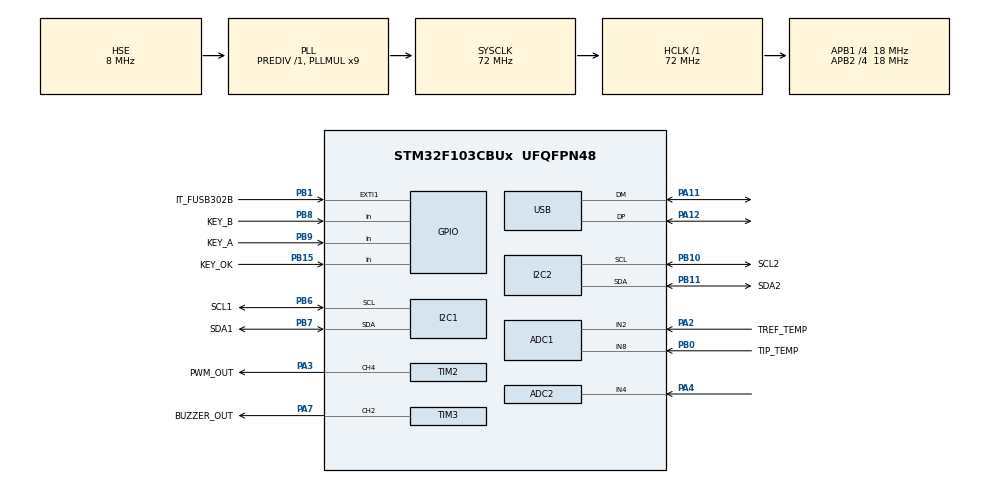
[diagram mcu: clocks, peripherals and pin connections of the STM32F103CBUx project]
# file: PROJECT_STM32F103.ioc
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ADC1.Channel-10\#ChannelInjectedConversion=ADC_CHANNEL_8
ADC1.Channel-11\#ChannelInjectedConversion=ADC_CHANNEL_8
ADC1.Channel-14\#ChannelInjectedConversion=ADC_CHANNEL_8
ADC1.Channel-15\#ChannelInjectedConversion=ADC_CHANNEL_8
ADC1.Channel-2\#ChannelRegularConversion=ADC_CHANNEL_2
ADC1.ContinuousConvMode=ENABLE
ADC1.EnableInjectedConversion=ENABLE
ADC1.ExternalTrigInjecConv=ADC_EXTERNALTRIGINJECCONV_T1_CC4
ADC1.InjNumberOfConversion=4
ADC1.InjectedOffset-10\#ChannelInjectedConversion=0
ADC1.InjectedOffset-11\#ChannelInjectedConversion=0
ADC1.InjectedOffset-14\#ChannelInjectedConversion=0
ADC1.InjectedOffset-15\#ChannelInjectedConversion=0
ADC1.Mode=ADC_DUALMODE_REGSIMULT_INJECSIMULT
ADC1.NbrOfConversion=1
ADC1.NbrOfConversionFlag=1
ADC1.Rank-10\#ChannelInjectedConversion=1
ADC1.Rank-11\#ChannelInjectedConversion=2
ADC1.Rank-14\#ChannelInjectedConversion=3
ADC1.Rank-15\#ChannelInjectedConversion=4
ADC1.Rank-2\#ChannelRegularConversion=1
ADC1.SamplingTime-10\#ChannelInjectedConversion=ADC_SAMPLETIME_1CYCLE_5
ADC1.SamplingTime-11\#ChannelInjectedConversion=ADC_SAMPLETIME_1CYCLE_5
ADC1.SamplingTime-14\#ChannelInjectedConversion=ADC_SAMPLETIME_1CYCLE_5
ADC1.SamplingTime-15\#ChannelInjectedConversion=ADC_SAMPLETIME_1CYCLE_5
ADC1.SamplingTime-2\#ChannelRegularConversion=ADC_SAMPLETIME_71CYCLES_5
ADC1.master=1
ADC2.Channel-0\#ChannelRegularConversion=ADC_CHANNEL_2
ADC2.Channel-10\#ChannelInjectedConversion=ADC_CHANNEL_8
ADC2.Channel-2\#ChannelInjectedConversion=ADC_CHANNEL_8
ADC2.Channel-8\#ChannelInjectedConversion=ADC_CHANNEL_8
ADC2.Channel-9\#ChannelInjectedConversion=ADC_CHANNEL_8
ADC2.ContinuousConvMode=ENABLE
ADC2.EnableInjectedConversion=ENABLE
ADC2.InjNumberOfConversion=4
ADC2.InjectedConvMode=None
ADC2.InjectedOffset-10\#ChannelInjectedConversion=0
ADC2.InjectedOffset-2\#ChannelInjectedConversion=0
ADC2.InjectedOffset-8\#ChannelInjectedConversion=0
ADC2.InjectedOffset-9\#ChannelInjectedConversion=0
ADC2.Mode=ADC_DUALMODE_REGSIMULT_INJECSIMULT
ADC2.NbrOfConversion=1
ADC2.NbrOfConversionFlag=1
ADC2.Rank-0\#ChannelRegularConversion=1
ADC2.Rank-10\#ChannelInjectedConversion=4
ADC2.Rank-2\#ChannelInjectedConversion=1
ADC2.Rank-8\#ChannelInjectedConversion=2
ADC2.Rank-9\#ChannelInjectedConversion=3
ADC2.SamplingTime-0\#ChannelRegularConversion=ADC_SAMPLETIME_71CYCLES_5
ADC2.SamplingTime-10\#ChannelInjectedConversion=ADC_SAMPLETIME_1CYCLE_5
ADC2.SamplingTime-2\#ChannelInjectedConversion=ADC_SAMPLETIME_1CYCLE_5
ADC2.SamplingTime-8\#ChannelInjectedConversion=ADC_SAMPLETIME_1CYCLE_5
ADC2.SamplingTime-9\#ChannelInjectedConversion=ADC_SAMPLETIME_1CYCLE_5
Dma.ADC1.2.Direction=DMA_PERIPH_TO_MEMORY
Dma.ADC1.2.Instance=DMA1_Channel1
Dma.ADC1.2.MemDataAlignment=DMA_MDATAALIGN_WORD
Dma.ADC1.2.MemInc=DMA_MINC_ENABLE
Dma.ADC1.2.Mode=DMA_CIRCULAR
Dma.ADC1.2.PeriphDataAlignment=DMA_PDATAALIGN_WORD
Dma.ADC1.2.PeriphInc=DMA_PINC_DISABLE
Dma.ADC1.2.Priority=DMA_PRIORITY_VERY_HIGH
Dma.I2C1_RX.0.Direction=DMA_PERIPH_TO_MEMORY
Dma.I2C1_RX.0.Instance=DMA1_Channel7
Dma.I2C1_RX.0.MemDataAlignment=DMA_MDATAALIGN_BYTE
Dma.I2C1_RX.0.MemInc=DMA_MINC_ENABLE
Dma.I2C1_RX.0.Mode=DMA_NORMAL
Dma.I2C1_RX.0.PeriphDataAlignment=DMA_PDATAALIGN_BYTE
Dma.I2C1_RX.0.PeriphInc=DMA_PINC_DISABLE
Dma.I2C1_RX.0.Priority=DMA_PRIORITY_LOW
Dma.I2C1_TX.1.Direction=DMA_MEMORY_TO_PERIPH
Dma.I2C1_TX.1.Instance=DMA1_Channel6
Dma.I2C1_TX.1.MemDataAlignment=DMA_MDATAALIGN_BYTE
Dma.I2C1_TX.1.MemInc=DMA_MINC_ENABLE
Dma.I2C1_TX.1.Mode=DMA_NORMAL
Dma.I2C1_TX.1.PeriphDataAlignment=DMA_PDATAALIGN_BYTE
Dma.I2C1_TX.1.PeriphInc=DMA_PINC_DISABLE
Dma.I2C1_TX.1.Priority=DMA_PRIORITY_MEDIUM
Dma.Request0=I2C1_RX
Dma.Request1=I2C1_TX
Dma.Request2=ADC1
FREERTOS.INCLUDE_uxTaskGetStackHighWaterMark=1
FREERTOS.INCLUDE_uxTaskPriorityGet=0
FREERTOS.INCLUDE_vTaskDelete=0
FREERTOS.INCLUDE_vTaskSuspend=0
FREERTOS.MEMORY_ALLOCATION=1
FREERTOS.Tasks01=PIDTask,3,64,StartPIDTask,Default,NULL,Static,PIDTaskBuffer,PIDTaskControlBlock;MOVTask,0,176,StartMOVTask,Default,NULL,Static,MOVTaskBuffer,MOVTaskControlBlock;POWTask,1,384,StartPOWTask,Default,NULL,Static,POWTaskBuffer,POWTaskControlBlock;GUITask,2,256,StartGUITask,Default,NULL,Static,GUITaskBuffer,GUITaskControlBlock
FREERTOS.configCHECK_FOR_STACK_OVERFLOW=2
FREERTOS.configMAX_PRIORITIES=7
FREERTOS.configMAX_TASK_NAME_LEN=32
FREERTOS.configMINIMAL_STACK_SIZE=64
FREERTOS.configTOTAL_HEAP_SIZE=4096
I2C1.I2C_Mode=I2C_Fast
I2C2.I2C_Mode=I2C_Fast
IWDG.Prescaler=IWDG_PRESCALER_256
IWDG.Reload=100
Mcu.Family=STM32F1
Mcu.Name=STM32F103CBUx
Mcu.Package=UFQFPN48
Mcu.UserConstants=TREF_TEMP_ADC1_CHANNEL,ADC_CHANNEL_2;TREF_TEMP_ADC2_CHANNEL,ADC_CHANNEL_2;TEMP_TEMP_ADC1_CHANNEL,ADC_CHANNEL_7;TEMP_TEMP_ADC2_CHANNEL,ADC_CHANNEL_7;TIM1_PSC_FAST_PWM,40267;TIM1_PSC_SLOW_PWM,63379;BUZZER_CHANNEL,TIM_CHANNEL_2
NVIC.ADC1_2_IRQn=true\:15\:0\:true\:false\:true\:false\:true\:true
NVIC.DMA1_Channel1_IRQn=true\:5\:0\:true\:false\:true\:false\:false\:true
NVIC.DMA1_Channel6_IRQn=true\:5\:0\:true\:false\:true\:false\:false\:true
NVIC.DMA1_Channel7_IRQn=true\:5\:0\:true\:false\:true\:false\:false\:true
NVIC.EXTI1_IRQn=true\:10\:0\:true\:false\:true\:false\:true\:true
NVIC.I2C1_ER_IRQn=true\:15\:0\:true\:false\:true\:false\:true\:true
NVIC.I2C1_EV_IRQn=true\:15\:0\:true\:false\:true\:false\:true\:true
NVIC.I2C2_ER_IRQn=true\:15\:0\:true\:false\:true\:false\:true\:true
NVIC.I2C2_EV_IRQn=true\:15\:0\:true\:false\:true\:false\:true\:true
NVIC.PriorityGroup=NVIC_PRIORITYGROUP_4
NVIC.TIM1_CC_IRQn=true\:15\:0\:true\:false\:true\:false\:true\:true
NVIC.TIM1_UP_IRQn=true\:15\:0\:true\:false\:true\:false\:true\:true
NVIC.TIM3_IRQn=true\:15\:0\:true\:false\:true\:false\:true\:true
NVIC.TIM4_IRQn=true\:0\:0\:false\:false\:true\:false\:false\:true
NVIC.TimeBase=TIM4_IRQn
NVIC.TimeBaseIP=TIM4
PA11.Mode=Device
PA11.Signal=USB_DM
PA12.Mode=Device
PA12.Signal=USB_DP
PA13.Mode=Trace_Asynchronous_SW
PA13.Signal=SYS_JTMS-SWDIO
PA14.Mode=Trace_Asynchronous_SW
PA14.Signal=SYS_JTCK-SWCLK
PA2.GPIO_Label=TREF_TEMP
PA2.Signal=ADCx_IN2
PA3.GPIO_Label=PWM_OUT
PA3.GPIO_Speed=GPIO_SPEED_FREQ_HIGH
PA3.Signal=S_TIM2_CH4
PA4.Signal=ADCx_IN4
PA7.GPIO_Label=BUZZER_OUT
PA7.GPIO_ModeDefaultPP=GPIO_MODE_AF_PP
PA7.GPIO_Speed=GPIO_SPEED_FREQ_HIGH
PA7.Signal=S_TIM3_CH2
PB0.GPIO_Label=TIP_TEMP
PB0.Signal=ADCx_IN8
PB1.GPIO_Label=IT_FUSB302B
PB1.GPIO_ModeDefaultEXTI=GPIO_MODE_IT_FALLING
PB1.GPIO_PuPd=GPIO_PULLUP
PB1.Signal=GPXTI1
PB10.GPIO_Label=SCL2
PB10.Mode=I2C
PB10.Signal=I2C2_SCL
PB11.GPIO_Label=SDA2
PB11.Mode=I2C
PB11.Signal=I2C2_SDA
PB15.GPIO_Label=KEY_OK
PB15.GPIO_PuPd=GPIO_PULLUP
PB15.Signal=GPIO_Input
PB3.Mode=Trace_Asynchronous_SW
PB3.Signal=SYS_JTDO-TRACESWO
PB6.GPIO_Label=SCL1
PB6.Mode=I2C
PB6.Signal=I2C1_SCL
PB7.GPIO_Label=SDA1
PB7.Mode=I2C
PB7.Signal=I2C1_SDA
PB8.GPIO_Label=KEY_B
PB8.GPIO_PuPd=GPIO_NOPULL
PB8.Signal=GPIO_Input
PB9.GPIO_Label=KEY_A
PB9.GPIO_PuPd=GPIO_PULLUP
PB9.Signal=GPIO_Input
PD0-OSC_IN.Mode=HSE-External-Oscillator
PD0-OSC_IN.Signal=RCC_OSC_IN
PD1-OSC_OUT.Mode=HSE-External-Oscillator
PD1-OSC_OUT.Signal=RCC_OSC_OUT
ProjectManager.HeapSize=0x400
ProjectManager.StackSize=0x400
ProjectManager.TargetToolchain=STM32CubeIDE
RCC.AHBFreq_Value=72000000
RCC.APB1CLKDivider=RCC_HCLK_DIV4
RCC.APB1Freq_Value=18000000
RCC.APB1TimFreq_Value=36000000
RCC.APB2CLKDivider=RCC_HCLK_DIV4
RCC.APB2Freq_Value=18000000
RCC.APB2TimFreq_Value=36000000
RCC.HCLKFreq_Value=72000000
RCC.PLLMUL=RCC_PLL_MUL9
RCC.PLLSourceVirtual=RCC_PLLSOURCE_HSE
RCC.SYSCLKFreq_VALUE=72000000
RCC.SYSCLKSource=RCC_SYSCLKSOURCE_PLLCLK
RCC.USBFreq_Value=48000000
RCC.USBPrescaler=RCC_USBCLKSOURCE_PLL_DIV1_5
SH.ADCx_IN2.0=ADC1_IN2,IN2
SH.ADCx_IN2.1=ADC2_IN2,IN2
SH.ADCx_IN4.0=ADC2_IN4,IN4
SH.ADCx_IN8.0=ADC1_IN8,IN8
SH.ADCx_IN8.1=ADC2_IN8,IN8
SH.S_TIM2_CH4.0=TIM2_CH4,PWM Generation4 CH4
SH.S_TIM3_CH2.0=TIM3_CH2,PWM Generation2 CH2
TIM1.Channel-PWM\ Generation1\ No\ Output=TIM_CHANNEL_1
TIM1.Channel-PWM\ Generation4\ No\ Output=TIM_CHANNEL_4
TIM1.ClockDivision=TIM_CLOCKDIVISION_DIV4
TIM1.OCFastMode_PWM-PWM\ Generation1\ No\ Output=TIM_OCFAST_ENABLE
TIM1.OCFastMode_PWM-PWM\ Generation4\ No\ Output=TIM_OCFAST_ENABLE
TIM1.OCPolarity_1=TIM_OCPOLARITY_LOW
TIM1.Period=255 + 14 * 2
TIM1.Prescaler=TIM1_PSC_SLOW_PWM
TIM1.Pulse-PWM\ Generation1\ No\ Output=0
TIM1.Pulse-PWM\ Generation4\ No\ Output=255 + 14
TIM2.AutoReloadPreload=TIM_AUTORELOAD_PRELOAD_ENABLE
TIM2.Channel-PWM\ Generation4\ CH4=TIM_CHANNEL_4
TIM2.ClockDivision=TIM_CLOCKDIVISION_DIV1
TIM2.Period=99
TIM2.Prescaler=35
TIM2.Pulse-PWM\ Generation4\ CH4=50
TIM3.AutoReloadPreload=TIM_AUTORELOAD_PRELOAD_DISABLE
TIM3.Channel-PWM\ Generation2\ CH2=TIM_CHANNEL_2
TIM3.OCPolarity_2=TIM_OCPOLARITY_LOW
TIM3.Period=255
TIM3.Prescaler=35
VP_FREERTOS_VS_CMSIS_V1.Mode=CMSIS_V1
VP_IWDG_VS_IWDG.Mode=IWDG_Activate
VP_SYS_VS_tim4.Mode=TIM4
VP_TIM1_VS_no_output1.Mode=PWM Generation1 No Output
VP_TIM1_VS_no_output4.Mode=PWM Generation4 No Output
board=custom

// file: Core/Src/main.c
/* USER CODE BEGIN Header */
/**
  ******************************************************************************
  * @file           : main.c
  * @brief          : Main program body
  ******************************************************************************
  * @attention
  *
  * <h2><center>&copy; Copyright (c) 2021 STMicroelectronics.
  * All rights reserved.</center></h2>
  *
  * This software component is licensed by ST under BSD 3-Clause license,
  * the "License"; You may not use this file except in compliance with the
  * License. You may obtain a copy of the License at:
  *                        opensource.org/licenses/BSD-3-Clause
  *
  ******************************************************************************
  */
/* USER CODE END Header */
#include "main.h"
#include "cmsis_os.h"

/* USER CODE BEGIN Includes */

//#include "sys.h"
//#include "delay.h"
//#include "led.h"
//#include "usart.h"
#ifndef STM32F1
#include "usbd_cdc_if.h"
#endif
#include "BSP.h"
#include "LIS3DH.hpp"
#include "Settings.h"
#include "power.hpp"
#include "Setup.h"
#include "Translation.h"
#include "Threads.hpp"
/* USER CODE END Includes */

ADC_HandleTypeDef hadc1;
ADC_HandleTypeDef hadc2;
DMA_HandleTypeDef hdma_adc1;

I2C_HandleTypeDef hi2c1;
I2C_HandleTypeDef hi2c2;
DMA_HandleTypeDef hdma_i2c1_rx;
DMA_HandleTypeDef hdma_i2c1_tx;

IWDG_HandleTypeDef hiwdg;

TIM_HandleTypeDef htim1;
TIM_HandleTypeDef htim2;
TIM_HandleTypeDef htim3;

PCD_HandleTypeDef hpcd_USB_FS;

osThreadId PIDTaskHandle;
uint32_t PIDTaskBuffer[ 64 ];
osStaticThreadDef_t PIDTaskControlBlock;
osThreadId MOVTaskHandle;
uint32_t MOVTaskBuffer[ 176 ];
osStaticThreadDef_t MOVTaskControlBlock;
osThreadId POWTaskHandle;
uint32_t POWTaskBuffer[ 384 ];
osStaticThreadDef_t POWTaskControlBlock;
osThreadId GUITaskHandle;
uint32_t GUITaskBuffer[ 256 ];
osStaticThreadDef_t GUITaskControlBlock;
/* USER CODE BEGIN PV */
bool    settingsWereReset            = false;
uint16_t GUITask_stacksize = 0;
uint16_t PIDTask_stacksize = 0;
uint16_t MOVTask_stacksize = 0;
uint16_t POWTask_stacksize = 0;
/* USER CODE END PV */

void SystemClock_Config(void);
static void MX_GPIO_Init(void);
static void MX_DMA_Init(void);
static void MX_ADC1_Init(void);
static void MX_TIM2_Init(void);
static void MX_I2C1_Init(void);
static void MX_ADC2_Init(void);
static void MX_I2C2_Init(void);
static void MX_TIM1_Init(void);
static void MX_TIM3_Init(void);
static void MX_IWDG_Init(void);
static void MX_USB_PCD_Init(void);
void StartPIDTask(void const * argument);
void StartMOVTask(void const * argument);
void StartPOWTask(void const * argument);
void StartGUITask(void const * argument);

int main(void)
{
  /* USER CODE BEGIN 1 */
	//SCB->VTOR = FLASH_BASE | 0x9000;
  /* USER CODE END 1 */

  /* MCU Configuration--------------------------------------------------------*/

  /* Reset of all peripherals, Initializes the Flash interface and the Systick. */
  HAL_Init();

  /* Configure the system clock */
  SystemClock_Config();

  /* USER CODE BEGIN SysInit */
  //USB_Status_Init();		//若不行就加长HAL_Delay
  /* USER CODE END SysInit */

  /* Initialize all configured peripherals */
  MX_GPIO_Init();
  MX_DMA_Init();
  MX_ADC1_Init();
  MX_TIM2_Init();
  MX_I2C1_Init();
  MX_ADC2_Init();
  MX_I2C2_Init();
  MX_TIM1_Init();
  MX_TIM3_Init();
  MX_IWDG_Init();
  MX_USB_PCD_Init();
  /* USER CODE BEGIN 2 */
  //MX_USB_DEVICE_Init()内有延迟，ADC在此期间自校准，启动校准前，ADC必须处于关电状超过至少两个ADC时钟周期
  //HAL_ADCEx_Calibration_Start(&hadc1);
  //HAL_ADCEx_Calibration_Start(&hadc2);
  //MX_USB_DEVICE_Init();	// 手动加在这，StartUSBTask里自动加的不正常，将它注释掉
  resetWatchdog();

  preRToSInit();		// 初始化i2c实例
  /*ADC规则通道DMA*/
  HAL_ADC_Start(&hadc1);
  HAL_ADC_Start(&hadc2);		//ADC slave can be enabled preliminarily using single-mode  HAL_ADC_Start() function.
  HAL_ADCEx_MultiModeStart_DMA(&hadc1, ADCReadings, (ADC_SAMPLES * ADC_CHANNELS));	//ADC handle of ADC master (handle of ADC slave must not be used)
  HAL_ADCEx_InjectedStart(&hadc1);       // enable injected readings
  HAL_ADCEx_InjectedStart(&hadc2);		// enable injected readings
  HAL_ADCEx_InjectedStart_IT(&hadc1);
  HAL_ADCEx_InjectedStart_IT(&hadc2);

  resetWatchdog();

  /* USER CODE END 2 */

  /* Create the thread(s) */
  /* definition and creation of PIDTask */
  osThreadStaticDef(PIDTask, StartPIDTask, osPriorityRealtime, 0, 64, PIDTaskBuffer, &PIDTaskControlBlock);
  PIDTaskHandle = osThreadCreate(osThread(PIDTask), NULL);

  /* definition and creation of MOVTask */
  osThreadStaticDef(MOVTask, StartMOVTask, osPriorityNormal, 0, 176, MOVTaskBuffer, &MOVTaskControlBlock);
  MOVTaskHandle = osThreadCreate(osThread(MOVTask), NULL);

  /* definition and creation of POWTask */
  osThreadStaticDef(POWTask, StartPOWTask, osPriorityAboveNormal, 0, 384, POWTaskBuffer, &POWTaskControlBlock);
  POWTaskHandle = osThreadCreate(osThread(POWTask), NULL);

  /* definition and creation of GUITask */
  osThreadStaticDef(GUITask, StartGUITask, osPriorityHigh, 0, 256, GUITaskBuffer, &GUITaskControlBlock);
  GUITaskHandle = osThreadCreate(osThread(GUITask), NULL);

  /* USER CODE BEGIN RTOS_THREADS */
	GUITask_stacksize = os_thread_def_GUITask.stacksize;
	PIDTask_stacksize = os_thread_def_PIDTask.stacksize;
	MOVTask_stacksize = os_thread_def_MOVTask.stacksize;
	POWTask_stacksize = os_thread_def_POWTask.stacksize;
	resetWatchdog();
  /* add threads, ... */
  /* USER CODE END RTOS_THREADS */

  /* Start scheduler */
  osKernelStart();

  /* We should never get here as control is now taken by the scheduler */
  /* Infinite loop */
  while (1)
  {

  }
}

void SystemClock_Config(void)
{
  RCC_OscInitTypeDef RCC_OscInitStruct = {0};
  RCC_ClkInitTypeDef RCC_ClkInitStruct = {0};
  RCC_PeriphCLKInitTypeDef PeriphClkInit = {0};

  /** Initializes the RCC Oscillators according to the specified parameters
  * in the RCC_OscInitTypeDef structure.
  */
  RCC_OscInitStruct.OscillatorType = RCC_OSCILLATORTYPE_LSI|RCC_OSCILLATORTYPE_HSE;
  RCC_OscInitStruct.HSEState = RCC_HSE_ON;
  RCC_OscInitStruct.HSEPredivValue = RCC_HSE_PREDIV_DIV1;
  RCC_OscInitStruct.HSIState = RCC_HSI_ON;
  RCC_OscInitStruct.LSIState = RCC_LSI_ON;
  RCC_OscInitStruct.PLL.PLLState = RCC_PLL_ON;
  RCC_OscInitStruct.PLL.PLLSource = RCC_PLLSOURCE_HSE;
  RCC_OscInitStruct.PLL.PLLMUL = RCC_PLL_MUL9;
  if (HAL_RCC_OscConfig(&RCC_OscInitStruct) != HAL_OK)
  {
    Error_Handler();
  }
  /** Initializes the CPU, AHB and APB buses clocks
  */
  RCC_ClkInitStruct.ClockType = RCC_CLOCKTYPE_HCLK|RCC_CLOCKTYPE_SYSCLK
                              |RCC_CLOCKTYPE_PCLK1|RCC_CLOCKTYPE_PCLK2;
  RCC_ClkInitStruct.SYSCLKSource = RCC_SYSCLKSOURCE_PLLCLK;
  RCC_ClkInitStruct.AHBCLKDivider = RCC_SYSCLK_DIV1;
  RCC_ClkInitStruct.APB1CLKDivider = RCC_HCLK_DIV4;
  RCC_ClkInitStruct.APB2CLKDivider = RCC_HCLK_DIV4;

  if (HAL_RCC_ClockConfig(&RCC_ClkInitStruct, FLASH_LATENCY_2) != HAL_OK)
  {
    Error_Handler();
  }
  PeriphClkInit.PeriphClockSelection = RCC_PERIPHCLK_ADC|RCC_PERIPHCLK_USB;
  PeriphClkInit.AdcClockSelection = RCC_ADCPCLK2_DIV2;
  PeriphClkInit.UsbClockSelection = RCC_USBCLKSOURCE_PLL_DIV1_5;
  if (HAL_RCCEx_PeriphCLKConfig(&PeriphClkInit) != HAL_OK)
  {
    Error_Handler();
  }
}

static void MX_ADC1_Init(void)
{

  /* USER CODE BEGIN ADC1_Init 0 */
	hadc1.Instance->JDR1;
  /* USER CODE END ADC1_Init 0 */

  ADC_MultiModeTypeDef multimode = {0};
  ADC_ChannelConfTypeDef sConfig = {0};
  ADC_InjectionConfTypeDef sConfigInjected = {0};

  /** Common config
  */
  hadc1.Instance = ADC1;
  hadc1.Init.ScanConvMode = ADC_SCAN_ENABLE;
  hadc1.Init.ContinuousConvMode = ENABLE;
  hadc1.Init.DiscontinuousConvMode = DISABLE;
  hadc1.Init.ExternalTrigConv = ADC_SOFTWARE_START;
  hadc1.Init.DataAlign = ADC_DATAALIGN_RIGHT;
  hadc1.Init.NbrOfConversion = 1;
  if (HAL_ADC_Init(&hadc1) != HAL_OK)
  {
    Error_Handler();
  }
  /** Configure the ADC multi-mode
  */
  multimode.Mode = ADC_DUALMODE_REGSIMULT_INJECSIMULT;
  if (HAL_ADCEx_MultiModeConfigChannel(&hadc1, &multimode) != HAL_OK)
  {
    Error_Handler();
  }
  /** Configure Regular Channel
  */
  sConfig.Channel = ADC_CHANNEL_2;
  sConfig.Rank = ADC_REGULAR_RANK_1;
  sConfig.SamplingTime = ADC_SAMPLETIME_71CYCLES_5;
  if (HAL_ADC_ConfigChannel(&hadc1, &sConfig) != HAL_OK)
  {
    Error_Handler();
  }
  /** Configure Injected Channel
  */
  sConfigInjected.InjectedChannel = ADC_CHANNEL_8;
  sConfigInjected.InjectedRank = ADC_INJECTED_RANK_1;
  sConfigInjected.InjectedNbrOfConversion = 4;
  sConfigInjected.InjectedSamplingTime = ADC_SAMPLETIME_1CYCLE_5;
  sConfigInjected.ExternalTrigInjecConv = ADC_EXTERNALTRIGINJECCONV_T1_CC4;
  sConfigInjected.AutoInjectedConv = DISABLE;
  sConfigInjected.InjectedDiscontinuousConvMode = DISABLE;
  sConfigInjected.InjectedOffset = 0;
  if (HAL_ADCEx_InjectedConfigChannel(&hadc1, &sConfigInjected) != HAL_OK)
  {
    Error_Handler();
  }
  /** Configure Injected Channel
  */
  sConfigInjected.InjectedRank = ADC_INJECTED_RANK_2;
  if (HAL_ADCEx_InjectedConfigChannel(&hadc1, &sConfigInjected) != HAL_OK)
  {
    Error_Handler();
  }
  /** Configure Injected Channel
  */
  sConfigInjected.InjectedRank = ADC_INJECTED_RANK_3;
  if (HAL_ADCEx_InjectedConfigChannel(&hadc1, &sConfigInjected) != HAL_OK)
  {
    Error_Handler();
  }
  /** Configure Injected Channel
  */
  sConfigInjected.InjectedRank = ADC_INJECTED_RANK_4;
  if (HAL_ADCEx_InjectedConfigChannel(&hadc1, &sConfigInjected) != HAL_OK)
  {
    Error_Handler();
  }
  /* USER CODE BEGIN ADC1_Init 2 */
  //SET_BIT(hadc1.Instance->CR1, (ADC_CR1_JEOCIE)); // Enable end of injected conv irq
  while(HAL_ADCEx_Calibration_Start(&hadc1) != HAL_OK)
	  ;
  //HAL_ADC_Start(&hadc1);不加这句，HAL_ADCEx_InjectedConvCpltCallback才会正常
  //HAL_ADCEx_InjectedStart(&hadc1);       // enable injected readings
  /* USER CODE END ADC1_Init 2 */

}

static void MX_ADC2_Init(void)
{

  ADC_ChannelConfTypeDef sConfig = {0};
  ADC_InjectionConfTypeDef sConfigInjected = {0};

  /** Common config
  */
  hadc2.Instance = ADC2;
  hadc2.Init.ScanConvMode = ADC_SCAN_ENABLE;
  hadc2.Init.ContinuousConvMode = ENABLE;
  hadc2.Init.DiscontinuousConvMode = DISABLE;
  hadc2.Init.ExternalTrigConv = ADC_SOFTWARE_START;
  hadc2.Init.DataAlign = ADC_DATAALIGN_RIGHT;
  hadc2.Init.NbrOfConversion = 1;
  if (HAL_ADC_Init(&hadc2) != HAL_OK)
  {
    Error_Handler();
  }
  /** Configure Regular Channel
  */
  sConfig.Channel = ADC_CHANNEL_2;
  sConfig.Rank = ADC_REGULAR_RANK_1;
  sConfig.SamplingTime = ADC_SAMPLETIME_71CYCLES_5;
  if (HAL_ADC_ConfigChannel(&hadc2, &sConfig) != HAL_OK)
  {
    Error_Handler();
  }
  /** Configure Injected Channel
  */
  sConfigInjected.InjectedChannel = ADC_CHANNEL_8;
  sConfigInjected.InjectedRank = ADC_INJECTED_RANK_1;
  sConfigInjected.InjectedNbrOfConversion = 4;
  sConfigInjected.InjectedSamplingTime = ADC_SAMPLETIME_1CYCLE_5;
  sConfigInjected.AutoInjectedConv = DISABLE;
  sConfigInjected.InjectedDiscontinuousConvMode = DISABLE;
  sConfigInjected.InjectedOffset = 0;
  if (HAL_ADCEx_InjectedConfigChannel(&hadc2, &sConfigInjected) != HAL_OK)
  {
    Error_Handler();
  }
  /** Configure Injected Channel
  */
  sConfigInjected.InjectedRank = ADC_INJECTED_RANK_2;
  if (HAL_ADCEx_InjectedConfigChannel(&hadc2, &sConfigInjected) != HAL_OK)
  {
    Error_Handler();
  }
  /** Configure Injected Channel
  */
  sConfigInjected.InjectedRank = ADC_INJECTED_RANK_3;
  if (HAL_ADCEx_InjectedConfigChannel(&hadc2, &sConfigInjected) != HAL_OK)
  {
    Error_Handler();
  }
  /** Configure Injected Channel
  */
  sConfigInjected.InjectedRank = ADC_INJECTED_RANK_4;
  if (HAL_ADCEx_InjectedConfigChannel(&hadc2, &sConfigInjected) != HAL_OK)
  {
    Error_Handler();
  }
  /* USER CODE BEGIN ADC2_Init 2 */
  //ADC的START，必须要，不然ADC压根儿不工作�???????????????????????????????????
  //HAL_ADC_Start(&hadc2);
  //HAL_ADCEx_InjectedStart(&hadc2);				// enable injected readings

  /*以下函数写在main*/
  //HAL_ADCEx_MultiModeStart_DMA(&hadc1, ADCReadings, (ADC_SAMPLES * ADC_CHANNELS)); // start DMA of normal readings
  while (HAL_ADCEx_Calibration_Start(&hadc2) != HAL_OK)	//
    ;
  /* USER CODE END ADC2_Init 2 */

}

static void MX_I2C1_Init(void)
{

  hi2c1.Instance = I2C1;
  hi2c1.Init.ClockSpeed = 400000;
  hi2c1.Init.DutyCycle = I2C_DUTYCYCLE_2;
  hi2c1.Init.OwnAddress1 = 0;
  hi2c1.Init.AddressingMode = I2C_ADDRESSINGMODE_7BIT;
  hi2c1.Init.DualAddressMode = I2C_DUALADDRESS_DISABLE;
  hi2c1.Init.OwnAddress2 = 0;
  hi2c1.Init.GeneralCallMode = I2C_GENERALCALL_DISABLE;
  hi2c1.Init.NoStretchMode = I2C_NOSTRETCH_DISABLE;
  if (HAL_I2C_Init(&hi2c1) != HAL_OK)
  {
    Error_Handler();
  }

}

static void MX_I2C2_Init(void)
{

  hi2c2.Instance = I2C2;
  hi2c2.Init.ClockSpeed = 400000;
  hi2c2.Init.DutyCycle = I2C_DUTYCYCLE_2;
  hi2c2.Init.OwnAddress1 = 0;
  hi2c2.Init.AddressingMode = I2C_ADDRESSINGMODE_7BIT;
  hi2c2.Init.DualAddressMode = I2C_DUALADDRESS_DISABLE;
  hi2c2.Init.OwnAddress2 = 0;
  hi2c2.Init.GeneralCallMode = I2C_GENERALCALL_DISABLE;
  hi2c2.Init.NoStretchMode = I2C_NOSTRETCH_DISABLE;
  if (HAL_I2C_Init(&hi2c2) != HAL_OK)
  {
    Error_Handler();
  }

}

static void MX_IWDG_Init(void)
{

  hiwdg.Instance = IWDG;
  hiwdg.Init.Prescaler = IWDG_PRESCALER_256;
  hiwdg.Init.Reload = 100;
  if (HAL_IWDG_Init(&hiwdg) != HAL_OK)
  {
    Error_Handler();
  }
  /* USER CODE BEGIN IWDG_Init 2 */
/**
 * Tout=((4×2^prer) ×rlr) /32
 * Tout = 4x256x100/32 = 3200ms
 */

  /* USER CODE END IWDG_Init 2 */

}

static void MX_TIM1_Init(void)
{

  TIM_MasterConfigTypeDef sMasterConfig = {0};
  TIM_OC_InitTypeDef sConfigOC = {0};
  TIM_BreakDeadTimeConfigTypeDef sBreakDeadTimeConfig = {0};

  htim1.Instance = TIM1;
  htim1.Init.Prescaler = TIM1_PSC_SLOW_PWM;
  htim1.Init.CounterMode = TIM_COUNTERMODE_UP;
  htim1.Init.Period = 255 + 14 * 2;
  htim1.Init.ClockDivision = TIM_CLOCKDIVISION_DIV4;
  htim1.Init.RepetitionCounter = 0;
  htim1.Init.AutoReloadPreload = TIM_AUTORELOAD_PRELOAD_DISABLE;
  if (HAL_TIM_PWM_Init(&htim1) != HAL_OK)
  {
    Error_Handler();
  }
  sMasterConfig.MasterOutputTrigger = TIM_TRGO_RESET;
  sMasterConfig.MasterSlaveMode = TIM_MASTERSLAVEMODE_DISABLE;
  if (HAL_TIMEx_MasterConfigSynchronization(&htim1, &sMasterConfig) != HAL_OK)
  {
    Error_Handler();
  }
  sConfigOC.OCMode = TIM_OCMODE_PWM1;
  sConfigOC.Pulse = 0;
  sConfigOC.OCPolarity = TIM_OCPOLARITY_LOW;
  sConfigOC.OCNPolarity = TIM_OCNPOLARITY_HIGH;
  sConfigOC.OCFastMode = TIM_OCFAST_ENABLE;
  sConfigOC.OCIdleState = TIM_OCIDLESTATE_RESET;
  sConfigOC.OCNIdleState = TIM_OCNIDLESTATE_RESET;
  if (HAL_TIM_PWM_ConfigChannel(&htim1, &sConfigOC, TIM_CHANNEL_1) != HAL_OK)
  {
    Error_Handler();
  }
  sConfigOC.Pulse = 255 + 14;
  sConfigOC.OCPolarity = TIM_OCPOLARITY_HIGH;
  if (HAL_TIM_PWM_ConfigChannel(&htim1, &sConfigOC, TIM_CHANNEL_4) != HAL_OK)
  {
    Error_Handler();
  }
  sBreakDeadTimeConfig.OffStateRunMode = TIM_OSSR_DISABLE;
  sBreakDeadTimeConfig.OffStateIDLEMode = TIM_OSSI_DISABLE;
  sBreakDeadTimeConfig.LockLevel = TIM_LOCKLEVEL_OFF;
  sBreakDeadTimeConfig.DeadTime = 0;
  sBreakDeadTimeConfig.BreakState = TIM_BREAK_DISABLE;
  sBreakDeadTimeConfig.BreakPolarity = TIM_BREAKPOLARITY_HIGH;
  sBreakDeadTimeConfig.AutomaticOutput = TIM_AUTOMATICOUTPUT_DISABLE;
  if (HAL_TIMEx_ConfigBreakDeadTime(&htim1, &sBreakDeadTimeConfig) != HAL_OK)
  {
    Error_Handler();
  }
  /* USER CODE BEGIN TIM1_Init 2 */
  HAL_TIM_PWM_Start(&htim1, TIM_CHANNEL_4);	//瑙﹀彂ADC娉ㄥ�???????????????????
  HAL_TIM_PWM_Start_IT(&htim1, TIM_CHANNEL_1);	// 涓茬骇PWM鐨勪笂绾WM
  HAL_TIM_Base_Start_IT(&htim1);
  /* USER CODE END TIM1_Init 2 */

}

static void MX_TIM2_Init(void)
{

  TIM_MasterConfigTypeDef sMasterConfig = {0};
  TIM_OC_InitTypeDef sConfigOC = {0};

  htim2.Instance = TIM2;
  htim2.Init.Prescaler = 35;
  htim2.Init.CounterMode = TIM_COUNTERMODE_UP;
  htim2.Init.Period = 99;
  htim2.Init.ClockDivision = TIM_CLOCKDIVISION_DIV1;
  htim2.Init.AutoReloadPreload = TIM_AUTORELOAD_PRELOAD_ENABLE;
  if (HAL_TIM_PWM_Init(&htim2) != HAL_OK)
  {
    Error_Handler();
  }
  sMasterConfig.MasterOutputTrigger = TIM_TRGO_RESET;
  sMasterConfig.MasterSlaveMode = TIM_MASTERSLAVEMODE_DISABLE;
  if (HAL_TIMEx_MasterConfigSynchronization(&htim2, &sMasterConfig) != HAL_OK)
  {
    Error_Handler();
  }
  sConfigOC.OCMode = TIM_OCMODE_PWM1;
  sConfigOC.Pulse = 50;
  sConfigOC.OCPolarity = TIM_OCPOLARITY_HIGH;
  sConfigOC.OCFastMode = TIM_OCFAST_DISABLE;
  if (HAL_TIM_PWM_ConfigChannel(&htim2, &sConfigOC, TIM_CHANNEL_4) != HAL_OK)
  {
    Error_Handler();
  }
  HAL_TIM_MspPostInit(&htim2);

}

static void MX_TIM3_Init(void)
{

  TIM_MasterConfigTypeDef sMasterConfig = {0};
  TIM_OC_InitTypeDef sConfigOC = {0};

  htim3.Instance = TIM3;
  htim3.Init.Prescaler = 35;
  htim3.Init.CounterMode = TIM_COUNTERMODE_UP;
  htim3.Init.Period = 255;
  htim3.Init.ClockDivision = TIM_CLOCKDIVISION_DIV1;
  htim3.Init.AutoReloadPreload = TIM_AUTORELOAD_PRELOAD_DISABLE;
  if (HAL_TIM_PWM_Init(&htim3) != HAL_OK)
  {
    Error_Handler();
  }
  sMasterConfig.MasterOutputTrigger = TIM_TRGO_RESET;
  sMasterConfig.MasterSlaveMode = TIM_MASTERSLAVEMODE_DISABLE;
  if (HAL_TIMEx_MasterConfigSynchronization(&htim3, &sMasterConfig) != HAL_OK)
  {
    Error_Handler();
  }
  sConfigOC.OCMode = TIM_OCMODE_PWM1;
  sConfigOC.Pulse = 0;
  sConfigOC.OCPolarity = TIM_OCPOLARITY_LOW;
  sConfigOC.OCFastMode = TIM_OCFAST_DISABLE;
  if (HAL_TIM_PWM_ConfigChannel(&htim3, &sConfigOC, TIM_CHANNEL_2) != HAL_OK)
  {
    Error_Handler();
  }
  /* USER CODE BEGIN TIM3_Init 2 */
  //HAL_TIM_PWM_Start(&htim3, TIM_CHANNEL_1);	//buzzer
  /* USER CODE END TIM3_Init 2 */
  HAL_TIM_MspPostInit(&htim3);

}

static void MX_USB_PCD_Init(void)
{

  hpcd_USB_FS.Instance = USB;
  hpcd_USB_FS.Init.dev_endpoints = 8;
  hpcd_USB_FS.Init.speed = PCD_SPEED_FULL;
  hpcd_USB_FS.Init.low_power_enable = DISABLE;
  hpcd_USB_FS.Init.lpm_enable = DISABLE;
  hpcd_USB_FS.Init.battery_charging_enable = DISABLE;
  if (HAL_PCD_Init(&hpcd_USB_FS) != HAL_OK)
  {
    Error_Handler();
  }

}

static void MX_DMA_Init(void)
{

  /* DMA controller clock enable */
  __HAL_RCC_DMA1_CLK_ENABLE();

  /* DMA interrupt init */
  /* DMA1_Channel1_IRQn interrupt configuration */
  HAL_NVIC_SetPriority(DMA1_Channel1_IRQn, 5, 0);
  HAL_NVIC_EnableIRQ(DMA1_Channel1_IRQn);
  /* DMA1_Channel6_IRQn interrupt configuration */
  HAL_NVIC_SetPriority(DMA1_Channel6_IRQn, 5, 0);
  HAL_NVIC_EnableIRQ(DMA1_Channel6_IRQn);
  /* DMA1_Channel7_IRQn interrupt configuration */
  HAL_NVIC_SetPriority(DMA1_Channel7_IRQn, 5, 0);
  HAL_NVIC_EnableIRQ(DMA1_Channel7_IRQn);

}

static void MX_GPIO_Init(void)
{
  GPIO_InitTypeDef GPIO_InitStruct = {0};

  /* GPIO Ports Clock Enable */
  __HAL_RCC_GPIOD_CLK_ENABLE();
  __HAL_RCC_GPIOA_CLK_ENABLE();
  __HAL_RCC_GPIOB_CLK_ENABLE();

  /*Configure GPIO pin : IT_FUSB302B_Pin */
  GPIO_InitStruct.Pin = IT_FUSB302B_Pin;
  GPIO_InitStruct.Mode = GPIO_MODE_IT_FALLING;
  GPIO_InitStruct.Pull = GPIO_PULLUP;
  HAL_GPIO_Init(IT_FUSB302B_GPIO_Port, &GPIO_InitStruct);

  /*Configure GPIO pins : KEY_OK_Pin KEY_A_Pin */
  GPIO_InitStruct.Pin = KEY_OK_Pin|KEY_A_Pin;
  GPIO_InitStruct.Mode = GPIO_MODE_INPUT;
  GPIO_InitStruct.Pull = GPIO_PULLUP;
  HAL_GPIO_Init(GPIOB, &GPIO_InitStruct);

  /*Configure GPIO pin : KEY_B_Pin */
  GPIO_InitStruct.Pin = KEY_B_Pin;
  GPIO_InitStruct.Mode = GPIO_MODE_INPUT;
  GPIO_InitStruct.Pull = GPIO_NOPULL;
  HAL_GPIO_Init(KEY_B_GPIO_Port, &GPIO_InitStruct);

  /* EXTI interrupt init*/
  HAL_NVIC_SetPriority(EXTI1_IRQn, 10, 0);
  HAL_NVIC_EnableIRQ(EXTI1_IRQn);

}

/* USER CODE BEGIN 4 */
void usb_printf(const char *format, ...)
{
    ;
}

/* USER CODE END 4 */

void StartPIDTask(void const * argument)
{
  /* USER CODE BEGIN 5 */
	doPIDTask();
  /* Infinite loop */
  for(;;)
  {
    osDelay(1);
  }
  /* USER CODE END 5 */
}

void StartMOVTask(void const * argument)
{
  /* USER CODE BEGIN StartMOVTask */
	doMOVTask();
	//unsigned long cnt = 0;
  /* Infinite loop */
  for(;;)
  {
	  osDelay(1);
  }
  /* USER CODE END StartMOVTask */
}

void StartPOWTask(void const * argument)
{
  /* USER CODE BEGIN StartPOWTask */
	doPOWTask();
  /* Infinite loop */
  for(;;)
  {
    osDelay(1);
  }
  /* USER CODE END StartPOWTask */
}

void StartGUITask(void const * argument)
{
  /* USER CODE BEGIN StartGUITask */
	doGUITask();
	//unsigned long cnt = 0;
  /* Infinite loop */
  for(;;)
  {
    osDelay(1);
  }
  /* USER CODE END StartGUITask */
}

void HAL_TIM_PeriodElapsedCallback(TIM_HandleTypeDef *htim)
{
  /* USER CODE BEGIN Callback 0 */
	if (htim->Instance == TIM1) {
		//static uint32_t cnt_CC1 = 0;
#if 0
		usb_printf(
				"Ela TIM3:%d ARR= %d PSC= %d CCR1=%d CCR4=%d\r\n",
				cnt_CC1++, htim->Instance->ARR, htim->Instance->PSC,
				htim->Instance->CCR1, htim->Instance->CCR4);
#endif
		// we want to turn on the output again
		PWMSafetyTimer--;
		// We decrement this safety value so that lockups in the
		// scheduler will not cause the PWM to become locked in an
		// active driving state.
		// While we could assume this could never happen, its a small price for
		// increased safety
		//htim3.Instance->CCR1 = 200;//经测试会同时触发PWM Pulse回调和Period回调
		htim1.Instance->CCR1 = pendingPWM;//默认�????????????????????0
		//加最小维持控制量,升温时温度不会乱�????????????????????,在PID中的�????????????????????小维持控制量不起作用,升温时温度会乱串
		if(!htim1.Instance->CCR1)
			htim1.Instance->CCR1 = 1;	//极小占空比以维持移动电源供电不休眠，和HAL_TIM_PluseFinishedCallback函数
		if (htim1.Instance->CCR1 && PWMSafetyTimer) {
			HAL_TIM_PWM_Start(&htim2, TIM_CHANNEL_4);
		} else {
			HAL_TIM_PWM_Stop(&htim2, TIM_CHANNEL_4);
		}
	}
  /* USER CODE END Callback 0 */
  if (htim->Instance == TIM4) {
    HAL_IncTick();
  }
}

void Error_Handler(void)
{
}

/************************ (C) COPYRIGHT STMicroelectronics *****END OF FILE****/
